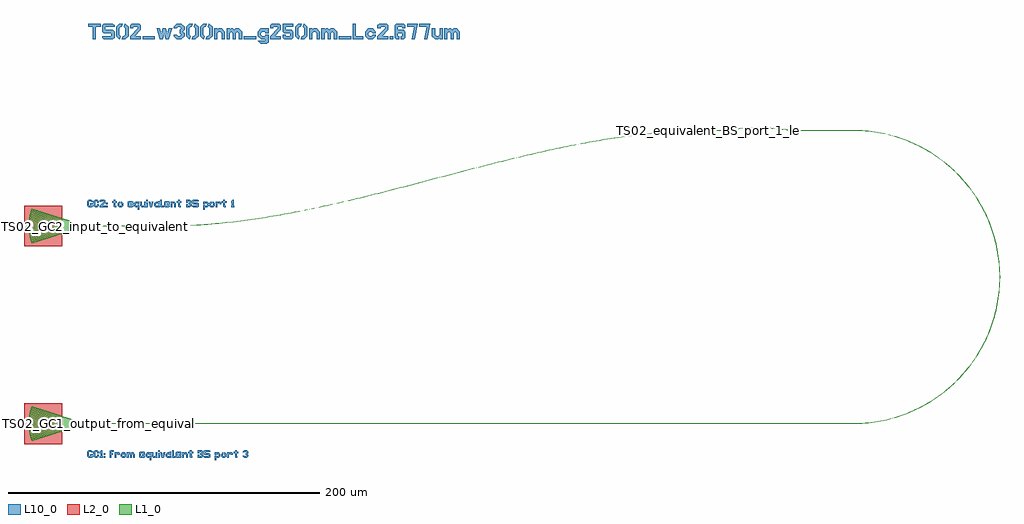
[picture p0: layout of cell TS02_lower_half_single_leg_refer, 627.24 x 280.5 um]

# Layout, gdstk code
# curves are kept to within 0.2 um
from math import pi, radians
import gdstk
lib = gdstk.Library(unit=1e-6, precision=1e-09)
def R(c, l, rs):  # rectangles x0, y0, x1, y1
    for r in rs: c.add(gdstk.rectangle(r[:2], r[2:], *l))
def P(c, l, *ps):  # polygons
    for p in ps: c.add(gdstk.Polygon(p, *l))
L1_0 = (1, 0)
L2_0 = (2, 0)
L10_0 = (10, 0)

grating_coupler_ellipti_ = lib.new_cell('grating_coupler_ellipti_2639d331')
P(grating_coupler_ellipti_, L1_0, [(15.723,-4.923),(0,-0.25),(0,0.25),(15.723,4.923),(16.379,2.5),(16.6,0),(16.379,-2.5)],
  [(16.17,-5.184),(16.048,-5.018),(16.502,-3.548),(16.798,-2.041),(16.906,-1.023),(16.942,0),(16.906,1.023),(16.798,2.041),(16.502,3.548),(16.048,5.018),(16.17,5.184),(16.37,5.134),(16.698,4.138),(16.954,3.121),(17.202,1.569),(17.286,0),(17.202,-1.569),(16.954,-3.121),(16.698,-4.138),(16.37,-5.134)],
  [(16.819,-5.387),(16.697,-5.221),(17.169,-3.692),(17.438,-2.387),(17.59,-1.065),(17.627,0),(17.59,1.065),(17.438,2.387),(17.169,3.692),(16.697,5.221),(16.819,5.387),(17.019,5.337),(17.36,4.302),(17.626,3.245),(17.884,1.631),(17.971,0),(17.884,-1.631),(17.626,-3.245),(17.36,-4.302),(17.019,-5.337)],
  [(17.469,-5.59),(17.345,-5.424),(17.837,-3.836),(18.115,-2.48),(18.273,-1.106),(18.312,0),(18.273,1.106),(18.115,2.48),(17.837,3.836),(17.345,5.424),(17.469,5.59),(17.669,5.54),(18.021,4.466),(18.298,3.368),(18.566,1.693),(18.656,0),(18.566,-1.693),(18.298,-3.368),(18.021,-4.466),(17.669,-5.54)],
  [(18.117,-5.793),(17.995,-5.627),(18.504,-3.979),(18.793,-2.573),(18.957,-1.147),(18.997,0),(18.957,1.147),(18.793,2.573),(18.504,3.979),(17.995,5.627),(18.117,5.793),(18.317,5.743),(18.683,4.63),(18.97,3.492),(19.248,1.755),(19.341,0),(19.248,-1.755),(18.97,-3.492),(18.683,-4.63),(18.317,-5.743)],
  [(18.767,-5.996),(18.643,-5.83),(19.171,-4.123),(19.47,-2.666),(19.64,-1.189),(19.682,0),(19.64,1.189),(19.47,2.666),(19.171,4.123),(18.643,5.83),(18.767,5.996),(18.967,5.946),(19.345,4.793),(19.641,3.615),(19.929,1.818),(20.026,0),(19.929,-1.818),(19.641,-3.615),(19.345,-4.793),(18.967,-5.946)],
  [(19.416,-6.199),(19.292,-6.034),(19.838,-4.267),(20.148,-2.759),(20.324,-1.23),(20.367,0),(20.324,1.23),(20.148,2.759),(19.838,4.267),(19.292,6.034),(19.416,6.199),(19.616,6.148),(20.007,4.957),(20.313,3.739),(20.611,1.88),(20.711,0),(20.611,-1.88),(20.313,-3.739),(20.007,-4.957),(19.616,-6.148)],
  [(20.063,-6.403),(19.941,-6.237),(20.505,-4.41),(20.826,-2.852),(20.982,-1.589),(21.052,0),(20.982,1.589),(20.826,2.852),(20.505,4.41),(19.941,6.237),(20.063,6.403),(20.263,6.353),(20.668,5.121),(20.985,3.862),(21.293,1.942),(21.396,0),(21.293,-1.942),(20.985,-3.862),(20.668,-5.121),(20.263,-6.353)],
  [(20.712,-6.606),(20.59,-6.44),(21.089,-4.872),(21.503,-2.945),(21.691,-1.313),(21.737,0),(21.691,1.313),(21.503,2.945),(21.089,4.872),(20.59,6.44),(20.712,6.606),(20.912,6.556),(21.33,5.285),(21.657,3.986),(21.974,2.004),(22.081,0),(21.974,-2.004),(21.657,-3.986),(21.33,-5.285),(20.912,-6.556)],
  [(21.362,-6.809),(21.238,-6.643),(21.84,-4.698),(22.181,-3.038),(22.374,-1.355),(22.422,0),(22.374,1.355),(22.181,3.038),(21.84,4.698),(21.238,6.643),(21.362,6.809),(21.562,6.759),(21.992,5.448),(22.329,4.109),(22.656,2.066),(22.766,0),(22.656,-2.066),(22.329,-4.109),(21.992,-5.448),(21.562,-6.759)],
  [(22.01,-7.012),(21.888,-6.846),(22.507,-4.841),(22.858,-3.131),(23.058,-1.396),(23.107,0),(23.058,1.396),(22.858,3.131),(22.507,4.841),(21.888,6.846),(22.01,7.012),(22.21,6.962),(22.33,6.628),(22.75,5.27),(23.001,4.233),(23.338,2.128),(23.451,0),(23.338,-2.128),(23.001,-4.233),(22.75,-5.27),(22.33,-6.628),(22.21,-6.962)],
  [(22.66,-7.215),(22.536,-7.049),(23.174,-4.985),(23.536,-3.224),(23.713,-1.796),(23.792,0),(23.713,1.796),(23.536,3.224),(23.174,4.985),(22.536,7.049),(22.66,7.215),(22.86,7.165),(22.982,6.821),(23.414,5.423),(23.673,4.356),(24.02,2.19),(24.136,0),(24.02,-2.19),(23.673,-4.356),(23.414,-5.423),(22.982,-6.821),(22.86,-7.165)],
  [(23.307,-7.418),(23.185,-7.252),(23.841,-5.129),(24.214,-3.317),(24.425,-1.479),(24.477,0),(24.425,1.479),(24.214,3.317),(23.841,5.129),(23.185,7.252),(23.307,7.418),(23.507,7.368),(23.634,7.016),(24.079,5.577),(24.345,4.48),(24.701,2.252),(24.821,0),(24.701,-2.252),(24.345,-4.48),(24.079,-5.577),(23.634,-7.016),(23.507,-7.368)],
  [(23.956,-7.622),(23.834,-7.456),(24.508,-5.273),(24.891,-3.41),(25.078,-1.9),(25.162,0),(25.078,1.9),(24.891,3.41),(24.508,5.273),(23.834,7.456),(23.956,7.622),(24.156,7.572),(24.41,6.841),(24.743,5.731),(25.094,4.225),(25.383,2.314),(25.506,0),(25.383,-2.314),(25.094,-4.225),(24.743,-5.731),(24.41,-6.841),(24.156,-7.572)],
  [(24.606,-7.825),(24.483,-7.659),(25.176,-5.416),(25.569,-3.502),(25.792,-1.562),(25.847,0),(25.792,1.562),(25.569,3.502),(25.176,5.416),(24.483,7.659),(24.606,7.825),(24.805,7.775),(25.066,7.026),(25.408,5.884),(25.768,4.338),(26.065,2.376),(26.191,0),(26.065,-2.376),(25.768,-4.338),(25.408,-5.884),(25.066,-7.026),(24.805,-7.775)],
  [(25.255,-8.028),(25.131,-7.862),(25.843,-5.56),(26.247,-3.595),(26.476,-1.603),(26.532,0),(26.476,1.603),(26.247,3.595),(25.843,5.56),(25.131,7.862),(25.255,8.028),(25.455,7.978),(25.722,7.209),(26.073,6.038),(26.442,4.451),(26.746,2.438),(26.876,0),(26.746,-2.438),(26.442,-4.451),(26.073,-6.038),(25.722,-7.209),(25.455,-7.978)],
  [(25.904,-8.231),(25.78,-8.066),(26.51,-5.704),(26.924,-3.688),(27.159,-1.645),(27.217,0),(27.159,1.645),(26.924,3.688),(26.51,5.704),(25.78,8.066),(25.904,8.231),(26.104,8.18),(26.377,7.393),(26.737,6.192),(27.116,4.565),(27.428,2.501),(27.561,0),(27.428,-2.501),(27.116,-4.565),(26.737,-6.192),(26.377,-7.393),(26.104,-8.18)],
  [(26.553,-8.434),(26.43,-8.268),(27.177,-5.847),(27.602,-3.781),(27.843,-1.686),(27.902,0),(27.843,1.686),(27.602,3.781),(27.177,5.847),(26.43,8.268),(26.553,8.434),(26.752,8.384),(27.033,7.576),(27.402,6.346),(27.79,4.678),(28.11,2.563),(28.246,0),(28.11,-2.563),(27.79,-4.678),(27.402,-6.346),(27.033,-7.576),(26.752,-8.384)],
  [(27.2,-8.637),(27.078,-8.471),(27.494,-7.24),(27.844,-5.991),(28.279,-3.874),(28.492,-2.158),(28.587,0),(28.492,2.158),(28.279,3.874),(27.844,5.991),(27.494,7.24),(27.078,8.471),(27.2,8.637),(27.4,8.587),(27.689,7.76),(28.066,6.499),(28.464,4.791),(28.792,2.625),(28.931,0),(28.792,-2.625),(28.464,-4.791),(28.066,-6.499),(27.689,-7.76),(27.4,-8.587)],
  [(27.85,-8.84),(27.726,-8.674),(28.153,-7.414),(28.511,-6.135),(28.957,-3.967),(29.21,-1.769),(29.272,0),(29.21,1.769),(28.957,3.967),(28.511,6.135),(28.153,7.414),(27.726,8.674),(27.85,8.84),(28.05,8.79),(28.344,7.944),(28.731,6.653),(29.138,4.905),(29.473,2.687),(29.579,1.345),(29.616,0),(29.579,-1.345),(29.473,-2.687),(29.138,-4.905),(28.731,-6.653),(28.344,-7.944),(28.05,-8.79)],
  [(28.498,-9.044),(28.376,-8.878),(28.811,-7.588),(29.179,-6.278),(29.635,-4.06),(29.893,-1.81),(29.957,0),(29.893,1.81),(29.635,4.06),(29.179,6.278),(28.811,7.588),(28.376,8.878),(28.498,9.044),(28.698,8.994),(29,8.126),(29.395,6.807),(29.812,5.018),(30.155,2.749),(30.263,1.376),(30.301,0),(30.263,-1.376),(30.155,-2.749),(29.812,-5.018),(29.395,-6.807),(29,-8.126),(28.698,-8.994)],
  [(29.148,-9.247),(29.024,-9.081),(29.47,-7.761),(29.846,-6.422),(30.312,-4.153),(30.577,-1.852),(30.642,0),(30.577,1.852),(30.312,4.153),(29.846,6.422),(29.47,7.761),(29.024,9.081),(29.148,9.247),(29.348,9.197),(29.656,8.31),(30.06,6.961),(30.486,5.131),(30.837,2.811),(30.948,1.407),(30.986,0),(30.948,-1.407),(30.837,-2.811),(30.486,-5.131),(30.06,-6.961),(29.656,-8.31),(29.348,-9.197)],
  [(29.797,-9.45),(29.673,-9.284),(30.129,-7.935),(30.513,-6.566),(30.99,-4.246),(31.223,-2.366),(31.327,0),(31.223,2.366),(30.99,4.246),(30.513,6.566),(30.129,7.935),(29.673,9.284),(29.797,9.45),(29.997,9.4),(30.311,8.494),(30.724,7.114),(31.16,5.245),(31.4,3.825),(31.565,2.396),(31.671,0),(31.565,-2.396),(31.4,-3.825),(31.16,-5.245),(30.724,-7.114),(30.311,-8.494),(29.997,-9.4)],
  [(30.444,-9.653),(30.322,-9.487),(30.788,-8.11),(31.18,-6.71),(31.667,-4.339),(31.944,-1.935),(32.012,0),(31.944,1.935),(31.667,4.339),(31.18,6.71),(30.788,8.11),(30.322,9.487),(30.444,9.653),(30.644,9.603),(30.967,8.677),(31.389,7.268),(31.834,5.358),(32.2,2.935),(32.316,1.47),(32.356,0),(32.316,-1.47),(32.2,-2.935),(31.834,-5.358),(31.389,-7.268),(30.967,-8.677),(30.644,-9.603)],
  [(31.093,-9.856),(30.971,-9.69),(31.722,-7.332),(32.071,-5.89),(32.345,-4.432),(32.588,-2.469),(32.697,0),(32.588,2.469),(32.345,4.432),(32.071,5.89),(31.722,7.332),(30.971,9.69),(31.093,9.856),(31.293,9.806),(31.622,8.862),(32.054,7.422),(32.508,5.471),(32.882,2.997),(33,1.501),(33.041,0),(33,-1.501),(32.882,-2.997),(32.508,-5.471),(32.054,-7.422),(31.622,-8.862),(31.293,-9.806)],
  [(31.742,-10.059),(31.62,-9.893),(32.105,-8.456),(32.514,-6.997),(33.023,-4.525),(33.311,-2.018),(33.382,0),(33.311,2.018),(33.023,4.525),(32.514,6.997),(32.105,8.456),(31.62,9.893),(31.742,10.059),(31.942,10.009),(32.278,9.044),(32.718,7.576),(33.182,5.585),(33.437,4.073),(33.613,2.551),(33.726,0),(33.613,-2.551),(33.437,-4.073),(33.182,-5.585),(32.718,-7.576),(32.278,-9.044),(31.942,-10.009)],
  [(32.391,-10.263),(32.269,-10.097),(32.764,-8.63),(33.182,-7.141),(33.7,-4.618),(33.994,-2.059),(34.067,0),(33.994,2.059),(33.7,4.618),(33.182,7.141),(32.764,8.63),(32.269,10.097),(32.391,10.263),(32.591,10.213),(32.934,9.228),(33.383,7.729),(33.856,5.698),(34.245,3.121),(34.368,1.563),(34.411,0),(34.368,-1.563),(34.245,-3.121),(33.856,-5.698),(33.383,-7.729),(32.934,-9.228),(32.591,-10.213)],
  [(33.041,-10.466),(32.918,-10.3),(33.423,-8.803),(33.849,-7.284),(34.378,-4.71),(34.678,-2.101),(34.752,0),(34.678,2.101),(34.378,4.71),(33.849,7.284),(33.423,8.803),(32.918,10.3),(33.041,10.466),(33.24,10.416),(33.751,8.905),(34.181,7.368),(34.529,5.811),(34.927,3.184),(35.053,1.594),(35.096,0),(35.053,-1.594),(34.927,-3.184),(34.529,-5.811),(34.181,-7.368),(33.751,-8.905),(33.24,-10.416)],
  [(33.69,-10.669),(33.566,-10.503),(34.082,-8.977),(34.516,-7.428),(35.056,-4.803),(35.362,-2.142),(35.437,0),(35.362,2.142),(35.056,4.803),(34.516,7.428),(34.082,8.977),(33.566,10.503),(33.69,10.669),(33.89,10.619),(34.41,9.079),(34.848,7.512),(35.203,5.925),(35.609,3.246),(35.737,1.625),(35.781,0),(35.737,-1.625),(35.609,-3.246),(35.203,-5.925),(34.848,-7.512),(34.41,-9.079),(33.89,-10.619)],
  [(34.337,-10.872),(34.215,-10.706),(34.74,-9.151),(35.183,-7.572),(35.733,-4.896),(36.002,-2.728),(36.122,0),(36.002,2.728),(35.733,4.896),(35.183,7.572),(34.74,9.151),(34.215,10.706),(34.337,10.872),(34.537,10.822),(34.901,9.778),(35.376,8.191),(35.877,6.038),(36.154,4.404),(36.344,2.758),(36.466,0),(36.344,-2.758),(36.154,-4.404),(35.877,-6.038),(35.376,-8.191),(34.901,-9.778),(34.537,-10.822)],
  [(34.986,-11.075),(34.864,-10.909),(35.399,-9.324),(35.85,-7.715),(36.411,-4.989),(36.729,-2.225),(36.807,0),(36.729,2.225),(36.411,4.989),(35.85,7.715),(35.399,9.324),(34.864,10.909),(34.986,11.075),(35.186,11.025),(35.727,9.426),(36.182,7.799),(36.551,6.151),(36.972,3.37),(37.105,1.687),(37.151,0),(37.105,-1.687),(36.972,-3.37),(36.551,-6.151),(36.182,-7.799),(35.727,-9.426),(35.186,-11.025)])
R(grating_coupler_ellipti_, L2_0, [(15.6,-13.075,40.164,13.075)])

gc_1550_l2r_4212be90 = lib.new_cell('gc_1550_l2r_4212be90')
gc_1550_l2r_4212be90.add(gdstk.Reference(grating_coupler_ellipti_, (0,0), rotation=pi))

text_gdsfactorypcompone_ = lib.new_cell('text_gdsfactorypcompone_e10d5c51')
R(text_gdsfactorypcompone_, L10_0, [(36,0,44,2), (101,0,109,2), (162,0,170,2), (195,0,197,2)])
P(text_gdsfactorypcompone_, L10_0, [(47,0),(45,7),(47,7),(48,3.5),(49,7),(51,7),(52,3.5),(53,7),(55,7),(53,0),(51,0),(50,3.5),(49,0)],
  [(82,0),(82,7),(84,7),(84,6),(85,7),(87,7),(89,5),(89,0),(87,0),(87,4),(86,5),(85,5),(84,4),(84,0)],
  [(90,0),(90,7),(92,7),(92,6),(93,7),(94,7),(95,6),(96,7),(98,7),(100,5),(100,0),(98,0),(98,4),(97,5),(96,4),(96,0),(94,0),(94,4),(93,5),(92,4),(92,0)],
  [(112,-3),(110,-1),(115,-1),(115,0),(112.34,0),(110,2),(110,5),(112,7),(117,7),(117,4),(115,4),(115,5),(113,5),(112,4),(112,3),(113,2),(115,2),(115,3),(117,3),(117,-2),(116,-3)],
  [(143,0),(143,7),(145,7),(145,6),(146,7),(148,7),(150,5),(150,0),(148,0),(148,4),(147,5),(146,5),(145,4),(145,0)],
  [(151,0),(151,7),(153,7),(153,6),(154,7),(155,7),(156,6),(157,7),(159,7),(161,5),(161,0),(159,0),(159,4),(158,5),(157,4),(157,0),(155,0),(155,4),(154,5),(153,4),(153,0)],
  [(181,0),(179,2),(179,5),(181,7),(184,7),(186,5),(186,4),(184,4),(183,5),(182,5),(181,4),(181,3),(182,2),(183,2),(184,3),(186,3),(186,2),(184,0)],
  [(224,0),(222,2),(222,7),(224,7),(224,3),(225,2),(226,2),(227,3),(227,7),(229,7),(229,0),(227,0),(227,1),(226,0)],
  [(230,0),(230,7),(232,7),(232,6),(233,7),(234,7),(235,6),(236,7),(238,7),(240,5),(240,0),(238,0),(238,4),(237,5),(236,4),(236,0),(234,0),(234,4),(233,5),(232,4),(232,0)],
  [(4,0),(4,8),(1,8),(1,10),(9,10),(9,8),(6,8),(6,0)],
  [(11,0),(10,1),(10,2),(16,2),(16,4),(11,4),(10,5),(10,9),(11,10),(17,10),(18,9),(18,8),(12,8),(12,6),(17,6),(18,5),(18,1),(17,0)],
  [(21,0),(19,2),(19,8),(21,10),(23.3,10),(22.8,8),(22,8),(21,7),(21,3),(22,2),(21.5,0)],
  [(22.7,0),(23.2,2),(24,2),(25,3),(25,7),(24,8),(24.5,10),(25,10),(27,8),(27,2),(25,0)],
  [(28,0),(28,2),(33,7),(33,8),(30,8),(30,7),(28,7),(28,9),(29,10),(34,10),(35,9),(35,6),(31,2),(35,2),(35,0)],
  [(58,0),(56,2),(56,3),(58,3),(59,2),(60,2),(61,3),(60,4),(60,6),(61,7),(60,8),(59,8),(58,7),(56,7),(56,8),(58,10),(61,10),(63,8),(63,6),(62,5),(63,4),(63,2),(61,0)],
  [(66,0),(64,2),(64,8),(66,10),(68.3,10),(67.8,8),(67,8),(66,7),(66,3),(67,2),(66.5,0)],
  [(67.7,0),(68.2,2),(69,2),(70,3),(70,7),(69,8),(69.5,10),(70,10),(72,8),(72,2),(70,0)],
  [(75,0),(73,2),(73,8),(75,10),(77.3,10),(76.8,8),(76,8),(75,7),(75,3),(76,2),(75.5,0)],
  [(76.7,0),(77.2,2),(78,2),(79,3),(79,7),(78,8),(78.5,10),(79,10),(81,8),(81,2),(79,0)],
  [(118,0),(118,2),(123,7),(123,8),(120,8),(120,7),(118,7),(118,9),(119,10),(124,10),(125,9),(125,6),(121,2),(125,2),(125,0)],
  [(127,0),(126,1),(126,3),(128,3),(128,2),(131,2),(131,4),(127,4),(126,5),(126,10),(133,10),(133,8),(128,8),(128,6),(132,6),(133,5),(133,1),(132,0)],
  [(136,0),(134,2),(134,8),(136,10),(138.3,10),(137.8,8),(137,8),(136,7),(136,3),(137,2),(136.5,0)],
  [(137.7,0),(138.2,2),(139,2),(140,3),(140,7),(139,8),(139.5,10),(140,10),(142,8),(142,2),(140,0)],
  [(171,0),(171,10),(173,10),(173,2),(178,2),(178,0)],
  [(187,0),(187,2),(192,7),(192,8),(189,8),(189,7),(187,7),(187,9),(188,10),(193,10),(194,9),(194,6),(190,2),(194,2),(194,0)],
  [(199,0),(198,1),(198,9),(199,10),(204,10),(205,9),(205,7),(203,7),(203,8),(200,8),(200,6),(204,6),(205,5),(205,1),(204,0),(202,0),(202,2),(203,2),(203,4),(200,4),(200,2),(201,2),(201,0)],
  [(209,0),(210.6,8),(206,8),(206,10),(213,10),(211,0)],
  [(217,0),(218.6,8),(214,8),(214,10),(221,10),(219,0)])

c_text_gdsfactorypcompone_ = lib.new_cell('text_gdsfactorypcompone_dc69bc85')
R(c_text_gdsfactorypcompone_, L10_0, [(11,0,12,1), (46,0,47,3), (11,2,12,3), (46,4,47,5)])
P(c_text_gdsfactorypcompone_, L10_0, [(18,0),(18,3.5),(19,3.5),(19,3),(19.5,3.5),(21,3.5),(21.5,3),(21.5,2),(20.5,2),(20.5,2.5),(19.5,2.5),(19,2),(19,0)],
  [(23,0),(22,1),(22,2.5),(23,3.5),(23.5,3.5),(23.5,2.5),(23,2),(23,1.5),(23.5,1),(24,1),(24.5,1.5),(24.5,2),(24,2.5),(24,3.5),(24.5,3.5),(25.5,2.5),(25.5,1),(24.5,0)],
  [(26,0),(26,3.5),(27,3.5),(27,3),(27.5,3.5),(28,3.5),(28.5,3),(29,3.5),(30,3.5),(31,2.5),(31,0),(30,0),(30,2),(29.5,2.5),(29,2),(29,0),(28,0),(28,2),(27.5,2.5),(27,2),(27,0)],
  [(40.5,-1.5),(40.5,0),(39,0),(38,1),(38,2.5),(39,3.5),(41.5,3.5),(41.5,2),(40.5,2),(40.5,2.5),(39.5,2.5),(39,2),(39,1.5),(39.5,1),(40.5,1),(40.5,1.5),(41.5,1.5),(41.5,-1.5)],
  [(43,0),(42,1),(42,3.5),(43,3.5),(43,1.5),(43.5,1),(44,1),(44.5,1.5),(44.5,3.5),(45.5,3.5),(45.5,0),(44.5,0),(44.5,0.5),(44,0)],
  [(48.5,0),(47.5,3.5),(48.5,3.5),(49,1.75),(49.5,3.5),(50.5,3.5),(49.5,0)],
  [(61.5,0),(61.5,3.5),(62.5,3.5),(62.5,3),(63,3.5),(64,3.5),(65,2.5),(65,0),(64,0),(64,2),(63.5,2.5),(63,2.5),(62.5,2),(62.5,0)],
  [(82.5,-1.5),(82.5,1.5),(83.5,1.5),(83.5,1),(84.5,1),(85,1.5),(85,2),(84.5,2.5),(83.5,2.5),(83.5,2),(82.5,2),(82.5,3.5),(85,3.5),(86,2.5),(86,1),(85,0),(83.5,0),(83.5,-1.5)],
  [(87.5,0),(86.5,1),(86.5,2.5),(87.5,3.5),(88,3.5),(88,2.5),(87.5,2),(87.5,1.5),(88,1),(88.5,1),(89,1.5),(89,2),(88.5,2.5),(88.5,3.5),(89,3.5),(90,2.5),(90,1),(89,0)],
  [(90.5,0),(90.5,3.5),(91.5,3.5),(91.5,3),(92,3.5),(93.5,3.5),(94,3),(94,2),(93,2),(93,2.5),(92,2.5),(91.5,2),(91.5,0)],
  [(52,0),(51,1),(51,2.5),(52.17,3.5),(53.5,3.5),(53.5,3.875),(54.5,3.875),(54.5,2),(53.5,2),(53.5,2.5),(52.5,2.5),(52,2),(52,1.5),(52.5,1),(53.5,1),(53.5,1.5),(54.5,1.5),(54.5,0)],
  [(34.5,0),(34,0.5),(34,3.5),(34.5,4),(37,4),(37.5,3.5),(37.5,2),(37,1.5),(35.7,1.5),(35.7,2.5),(36.5,2.5),(36.5,3),(35,3),(35,1),(37.5,1),(37.5,0.5),(37,0)],
  [(58,0),(57.5,0.5),(57.5,3.5),(58,4),(60.5,4),(61,3.5),(61,2),(60.5,1.5),(59.2,1.5),(59.2,2.5),(60,2.5),(60,3),(58.5,3),(58.5,1),(61,1),(61,0.5),(60.5,0)],
  [(1.5,0),(0.5,1),(0.5,4),(1.5,5),(3,5),(4,4),(4,3.5),(3,3.5),(2.5,4),(2,4),(1.5,3.5),(1.5,1.5),(2,1),(3,1),(3,1.5),(2.5,1.5),(2.5,2.5),(4,2.5),(4,0.5),(3.5,0)],
  [(5.5,0),(4.5,1),(4.5,4),(5.5,5),(7,5),(8,4),(8,3),(7,3),(7,3.5),(6.5,4),(6,4),(5.5,3.5),(5.5,1.5),(6,1),(6.5,1),(7,1.5),(7,2),(8,2),(8,1),(7,0)],
  [(8.5,0),(8.5,1),(9,1),(9,3),(8.5,3),(8.5,4),(9.5,5),(10,5),(10,1),(10.5,1),(10.5,0)],
  [(15,0),(15,4.5),(15.5,5),(17.5,5),(17.5,4),(16,4),(16,3),(17,3),(17,2),(16,2),(16,0)],
  [(55.5,0),(55,0.5),(55,5),(56,5),(56,1),(57,1),(57,0)],
  [(67,0),(66.5,0.5),(66.5,3),(65.5,3),(65.5,4),(66.5,4),(66.5,5),(67.5,5),(67.5,4),(68.5,4),(68.5,3),(67.5,3),(67.5,1),(68,1),(68,0)],
  [(71.5,0),(71.5,2),(72.5,2),(72.5,1),(73.5,1),(74,1.5),(73.5,2),(73.1,2),(73.1,3),(73.5,3),(74,3.5),(73.5,4),(72.5,4),(72.5,3),(71.5,3),(71.5,5),(74,5),(75,4),(75,3),(74.5,2.5),(75,2),(75,1),(74,0)],
  [(76,0),(75.5,0.5),(75.5,1),(78.5,1),(78.5,2),(76,2),(75.5,2.5),(75.5,4.5),(76,5),(79,5),(79.5,4.5),(79.5,4),(76.5,4),(76.5,3),(79,3),(79.5,2.5),(79.5,0.5),(79,0)],
  [(96,0),(95.5,0.5),(95.5,3),(94.5,3),(94.5,4),(95.5,4),(95.5,5),(96.5,5),(96.5,4),(97.5,4),(97.5,3),(96.5,3),(96.5,1),(97,1),(97,0)],
  [(101.5,0),(100.5,1),(100.5,1.5),(101.5,1.5),(102,1),(102.5,1),(103,1.5),(102.5,2),(102.5,3),(103,3.5),(102.5,4),(102,4),(101.5,3.5),(100.5,3.5),(100.5,4),(101.5,5),(103,5),(104,4),(104,3),(103.5,2.5),(104,2),(104,1),(103,0)])

c_text_gdsfactorypcompone__ = lib.new_cell('text_gdsfactorypcompone_19d734a6')
R(c_text_gdsfactorypcompone__, L10_0, [(12.5,0,13.5,1), (38.5,0,39.5,3), (12.5,2,13.5,3), (38.5,4,39.5,5)])
P(c_text_gdsfactorypcompone__, L10_0, [(21,0),(20,1),(20,2.5),(21,3.5),(21.5,3.5),(21.5,2.5),(21,2),(21,1.5),(21.5,1),(22,1),(22.5,1.5),(22.5,2),(22,2.5),(22,3.5),(22.5,3.5),(23.5,2.5),(23.5,1),(22.5,0)],
  [(33,-1.5),(33,0),(31.5,0),(30.5,1),(30.5,2.5),(31.5,3.5),(34,3.5),(34,2),(33,2),(33,2.5),(32,2.5),(31.5,2),(31.5,1.5),(32,1),(33,1),(33,1.5),(34,1.5),(34,-1.5)],
  [(35.5,0),(34.5,1),(34.5,3.5),(35.5,3.5),(35.5,1.5),(36,1),(36.5,1),(37,1.5),(37,3.5),(38,3.5),(38,0),(37,0),(37,0.5),(36.5,0)],
  [(41,0),(40,3.5),(41,3.5),(41.5,1.75),(42,3.5),(43,3.5),(42,0)],
  [(54,0),(54,3.5),(55,3.5),(55,3),(55.5,3.5),(56.5,3.5),(57.5,2.5),(57.5,0),(56.5,0),(56.5,2),(56,2.5),(55.5,2.5),(55,2),(55,0)],
  [(75,-1.5),(75,1.5),(76,1.5),(76,1),(77,1),(77.5,1.5),(77.5,2),(77,2.5),(76,2.5),(76,2),(75,2),(75,3.5),(77.5,3.5),(78.5,2.5),(78.5,1),(77.5,0),(76,0),(76,-1.5)],
  [(80,0),(79,1),(79,2.5),(80,3.5),(80.5,3.5),(80.5,2.5),(80,2),(80,1.5),(80.5,1),(81,1),(81.5,1.5),(81.5,2),(81,2.5),(81,3.5),(81.5,3.5),(82.5,2.5),(82.5,1),(81.5,0)],
  [(83,0),(83,3.5),(84,3.5),(84,3),(84.5,3.5),(86,3.5),(86.5,3),(86.5,2),(85.5,2),(85.5,2.5),(84.5,2.5),(84,2),(84,0)],
  [(44.5,0),(43.5,1),(43.5,2.5),(44.67,3.5),(46,3.5),(46,3.875),(47,3.875),(47,2),(46,2),(46,2.5),(45,2.5),(44.5,2),(44.5,1.5),(45,1),(46,1),(46,1.5),(47,1.5),(47,0)],
  [(27,0),(26.5,0.5),(26.5,3.5),(27,4),(29.5,4),(30,3.5),(30,2),(29.5,1.5),(28.2,1.5),(28.2,2.5),(29,2.5),(29,3),(27.5,3),(27.5,1),(30,1),(30,0.5),(29.5,0)],
  [(50.5,0),(50,0.5),(50,3.5),(50.5,4),(53,4),(53.5,3.5),(53.5,2),(53,1.5),(51.7,1.5),(51.7,2.5),(52.5,2.5),(52.5,3),(51,3),(51,1),(53.5,1),(53.5,0.5),(53,0)],
  [(1.5,0),(0.5,1),(0.5,4),(1.5,5),(3,5),(4,4),(4,3.5),(3,3.5),(2.5,4),(2,4),(1.5,3.5),(1.5,1.5),(2,1),(3,1),(3,1.5),(2.5,1.5),(2.5,2.5),(4,2.5),(4,0.5),(3.5,0)],
  [(5.5,0),(4.5,1),(4.5,4),(5.5,5),(7,5),(8,4),(8,3),(7,3),(7,3.5),(6.5,4),(6,4),(5.5,3.5),(5.5,1.5),(6,1),(6.5,1),(7,1.5),(7,2),(8,2),(8,1),(7,0)],
  [(8.5,0),(8.5,1),(11,3.5),(11,4),(9.5,4),(9.5,3.5),(8.5,3.5),(8.5,4.5),(9,5),(11.5,5),(12,4.5),(12,3),(10,1),(12,1),(12,0)],
  [(18,0),(17.5,0.5),(17.5,3),(16.5,3),(16.5,4),(17.5,4),(17.5,5),(18.5,5),(18.5,4),(19.5,4),(19.5,3),(18.5,3),(18.5,1),(19,1),(19,0)],
  [(48,0),(47.5,0.5),(47.5,5),(48.5,5),(48.5,1),(49.5,1),(49.5,0)],
  [(59.5,0),(59,0.5),(59,3),(58,3),(58,4),(59,4),(59,5),(60,5),(60,4),(61,4),(61,3),(60,3),(60,1),(60.5,1),(60.5,0)],
  [(64,0),(64,2),(65,2),(65,1),(66,1),(66.5,1.5),(66,2),(65.6,2),(65.6,3),(66,3),(66.5,3.5),(66,4),(65,4),(65,3),(64,3),(64,5),(66.5,5),(67.5,4),(67.5,3),(67,2.5),(67.5,2),(67.5,1),(66.5,0)],
  [(68.5,0),(68,0.5),(68,1),(71,1),(71,2),(68.5,2),(68,2.5),(68,4.5),(68.5,5),(71.5,5),(72,4.5),(72,4),(69,4),(69,3),(71.5,3),(72,2.5),(72,0.5),(71.5,0)],
  [(88.5,0),(88,0.5),(88,3),(87,3),(87,4),(88,4),(88,5),(89,5),(89,4),(90,4),(90,3),(89,3),(89,1),(89.5,1),(89.5,0)],
  [(93,0),(93,1),(93.5,1),(93.5,3),(93,3),(93,4),(94,5),(94.5,5),(94.5,1),(95,1),(95,0)])

ts02_lower_half_single_l = lib.new_cell('TS02_lower_half_single_leg_refer')
P(ts02_lower_half_single_l, L1_0, [(0,-190.75),(0,-190.25),(50,-190.35),(50,-190.65)],
  [(0,-63.75),(0,-63.25),(50,-63.35),(50,-63.65)],
  [(50.001,-63.65),(49.999,-63.35),(54.665,-63.318),(61.662,-63.15),(66.326,-62.961),(73.324,-62.567),(77.988,-62.233),(84.986,-61.629),(94.316,-60.641),(103.646,-59.457),(108.312,-58.796),(115.31,-57.723),(126.973,-55.732),(138.637,-53.512),(147.969,-51.589),(159.633,-49.024),(168.965,-46.86),(180.631,-44.039),(189.963,-41.707),(201.629,-38.718),(252.963,-25.288),(266.964,-21.747),(278.632,-18.903),(290.3,-16.184),(301.969,-13.618),(313.638,-11.233),(325.307,-9.055),(336.977,-7.112),(346.313,-5.746),(355.649,-4.561),(364.986,-3.573),(374.323,-2.794),(383.66,-2.239),(388.328,-2.051),(392.997,-1.923),(399.999,-1.85),(400.001,-2.15),(395.335,-2.182),(388.338,-2.35),(383.674,-2.539),(376.676,-2.933),(372.012,-3.267),(365.014,-3.871),(355.684,-4.859),(346.354,-6.043),(341.688,-6.704),(334.69,-7.777),(323.027,-9.768),(311.363,-11.988),(302.031,-13.911),(290.367,-16.476),(281.035,-18.64),(269.369,-21.461),(260.037,-23.793),(248.371,-26.782),(197.037,-40.212),(183.036,-43.753),(171.368,-46.597),(159.7,-49.316),(148.031,-51.882),(136.362,-54.267),(124.693,-56.445),(113.023,-58.388),(103.687,-59.754),(94.351,-60.939),(85.014,-61.927),(75.677,-62.706),(66.34,-63.261),(61.672,-63.449),(57.003,-63.577)],
  [(400,-2.15),(400,-1.85),(405.998,-1.842),(409.324,-1.713),(413.153,-1.419),(423.655,-0.401),(426.826,-0.201),(429.833,-0.125),(434.348,-0.147),(438.021,-0.327),(441.691,-0.635),(449.857,-1.449),(454.018,-1.75),(457.178,-1.848),(462.677,-1.85),(462.677,-2.15),(457.176,-2.148),(454.503,-2.074),(450.164,-1.777),(441.496,-0.918),(437.834,-0.615),(434.007,-0.439),(429.834,-0.425),(427.007,-0.493),(424.011,-0.675),(413.013,-1.733),(409.175,-2.022),(406.002,-2.142)],
  [(50,-190.65),(50,-190.35),(494.648,-190.329),(498.586,-190.164),(500.551,-190.02),(504.471,-189.608),(506.423,-189.341),(510.31,-188.683),(514.165,-187.864),(516.079,-187.394),(519.875,-186.334),(523.623,-185.116),(527.318,-183.742),(530.951,-182.215),(532.743,-181.394),(536.273,-179.642),(539.727,-177.743),(543.098,-175.701),(546.381,-173.52),(549.57,-171.203),(552.659,-168.755),(554.164,-167.483),(557.093,-164.846),(559.909,-162.088),(562.607,-159.215),(563.91,-157.737),(566.423,-154.7),(568.805,-151.561),(571.055,-148.324),(573.167,-144.996),(574.17,-143.3),(576.069,-139.846),(577.821,-136.316),(579.424,-132.715),(580.169,-130.891),(581.543,-127.196),(582.761,-123.448),(583.821,-119.652),(584.721,-115.814),(585.11,-113.883),(585.768,-109.996),(586.262,-106.086),(586.591,-102.159),(586.756,-98.221),(586.756,-94.279),(586.591,-90.341),(586.447,-88.376),(586.035,-84.456),(585.459,-80.557),(584.721,-76.686),(583.821,-72.848),(582.761,-69.052),(581.543,-65.304),(580.875,-63.449),(579.424,-59.785),(577.821,-56.184),(576.069,-52.654),(574.17,-49.2),(573.167,-47.504),(571.055,-44.176),(568.805,-40.939),(566.423,-37.8),(565.182,-36.268),(562.607,-33.285),(559.909,-30.412),(557.093,-27.654),(554.164,-25.017),(551.127,-22.504),(547.988,-20.122),(544.751,-17.872),(541.423,-15.76),(539.727,-14.757),(536.273,-12.858),(532.743,-11.106),(529.142,-9.503),(525.478,-8.052),(521.755,-6.756),(517.982,-5.616),(514.165,-4.636),(510.31,-3.817),(506.423,-3.159),(502.513,-2.665),(500.551,-2.48),(498.586,-2.336),(494.648,-2.171),(462.677,-2.15),(462.677,-1.85),(494.654,-1.871),(498.604,-2.036),(500.576,-2.181),(504.508,-2.594),(508.42,-3.172),(510.366,-3.522),(514.233,-4.344),(518.063,-5.327),(521.848,-6.47),(525.582,-7.771),(529.258,-9.226),(532.871,-10.834),(536.412,-12.592),(539.877,-14.497),(541.579,-15.504),(544.917,-17.622),(548.164,-19.879),(551.313,-22.269),(552.85,-23.514),(555.843,-26.097),(558.725,-28.804),(561.492,-31.629),(562.83,-33.084),(564.137,-34.567),(566.658,-37.614),(569.048,-40.763),(571.305,-44.01),(572.382,-45.668),(574.43,-49.05),(576.335,-52.515),(578.093,-56.056),(578.916,-57.854),(580.448,-61.499),(581.826,-65.205),(582.457,-67.079),(583.6,-70.864),(584.583,-74.694),(585.014,-76.623),(585.755,-80.507),(586.333,-84.419),(586.56,-86.383),(586.891,-90.323),(586.994,-92.297),(587.077,-96.25),(586.994,-100.203),(586.891,-102.177),(586.56,-106.117),(586.064,-110.04),(585.405,-113.939),(584.583,-117.806),(583.6,-121.636),(582.457,-125.421),(581.826,-127.295),(580.448,-131.001),(578.916,-134.646),(578.093,-136.444),(576.335,-139.985),(574.43,-143.45),(572.382,-146.832),(571.305,-148.49),(569.048,-151.737),(566.658,-154.886),(564.137,-157.933),(561.492,-160.871),(560.123,-162.298),(557.298,-165.065),(554.36,-167.71),(551.313,-170.231),(548.164,-172.621),(546.552,-173.766),(543.259,-175.955),(539.877,-178.003),(536.412,-179.908),(532.871,-181.666),(531.073,-182.489),(527.428,-184.021),(523.722,-185.399),(521.848,-186.03),(518.063,-187.173),(514.233,-188.156),(512.304,-188.587),(508.42,-189.328),(504.508,-189.906),(502.544,-190.133),(498.604,-190.464),(496.63,-190.567),(492.677,-190.65)])
ts02_lower_half_single_l.add(gdstk.Reference(gc_1550_l2r_4212be90, (0,-190.5)))
ts02_lower_half_single_l.add(gdstk.Reference(gc_1550_l2r_4212be90, (0,-63.5)))
ts02_lower_half_single_l.add(gdstk.Reference(text_gdsfactorypcompone_, (0,56.5)))
ts02_lower_half_single_l.add(gdstk.Reference(c_text_gdsfactorypcompone_, (0,-212.5)))
ts02_lower_half_single_l.add(gdstk.Reference(c_text_gdsfactorypcompone__, (0,-51.5)))
ts02_lower_half_single_l.add(gdstk.Label('TS02_GC1_output_from_equivalent_BS_port_3', (0,-190.5), layer=11, texttype=0))
ts02_lower_half_single_l.add(gdstk.Label('TS02_GC2_input_to_equivalent_BS_port_1', (0,-63.5), layer=11, texttype=0))
ts02_lower_half_single_l.add(gdstk.Label('TS02_equivalent_BS_port_1_left_bottom', (400,-2), layer=11, texttype=0))
ts02_lower_half_single_l.add(gdstk.Label('TS02_equivalent_BS_port_3_right_bottom', (462.677,-2), layer=11, texttype=0))

lib.write_gds('TS02_lower_half_single_leg_refer.gds')
